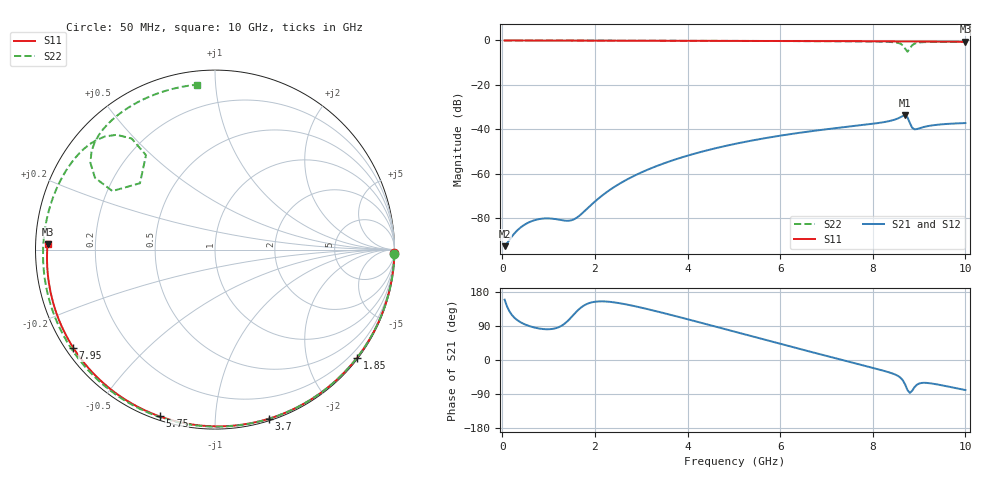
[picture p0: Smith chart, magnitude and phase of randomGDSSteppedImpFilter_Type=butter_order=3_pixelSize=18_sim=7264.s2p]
! freq	dB(S11)	phase(S11)	dB(S12)	phase(S12)
!  dB(S21)	phase(S21)	dB(S22)	phase(S22)
!S-par simulation data
#  GHz  S  DB  R 50
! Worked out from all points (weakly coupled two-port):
!   200 points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, 50 MHz to 10 GHz, reference 50 ohm
!   highest |S21| = -33.71 dB at 8.7 GHz (marker M1); lowest = -92.6 dB at 50 MHz (marker M2)
!   lowest |S11| = -0.6 dB at 10 GHz (marker M3), VSWR 29.04, Z = 1.72 + j0.777 ohm
!   |S11| at or under -10 dB: nowhere
!   |S22| runs from -5.1 to 0.0 dB; largest |S21 - S12| = 0
!   S11 on the Smith chart (normalised r, x): 50 MHz: open; 1.85 GHz: 0.03, -2.96; 3.7 GHz: 0.02, -1.37; 5.75 GHz: 0.02, -0.72; 7.95 GHz: 0.02, -0.31; 10 GHz: 0.03, +0.02
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0.05  -0.00 -1.0  -92.56 159.2  -92.56 159.2  -0.00 -1.4
0.75  -0.02 -15.3  -80.58 84.1  -80.58 84.1  -0.02 -20.2
1.55  -0.04 -31.4  -80.45 120.9  -80.45 120.9  -0.05 -41.4
1.75  -0.04 -35.3  -77.30 142.8  -77.30 142.8  -0.06 -46.5
1.85  -0.05 -37.3  -75.34 149.0  -75.34 149.0  -0.06 -49.1
2.5  -0.06 -49.9  -64.85 150.6  -64.85 150.6  -0.08 -65.6
3.4  -0.09 -66.9  -55.98 126.4  -55.98 126.4  -0.11 -87.8
3.7  -0.10 -72.4  -53.79 117.2  -53.79 117.2  -0.13 -95.0
5.05  -0.15 -96.4  -46.43 73.6  -46.43 73.6  -0.19 -126.8
5.75  -0.18 -108.3  -43.70 50.9  -43.70 50.9  -0.24 -143.3
6.7  -0.24 -124.3  -40.75 20.3  -40.75 20.3  -0.32 -166.6
7.35  -0.30 -135.2  -39.08 -0.3  -39.08 -0.3  -0.39 176.4
7.95  -0.35 -145.3  -37.62 -19.2  -37.62 -19.2  -0.49 158.8
8.35  -0.39 -152.1  -36.31 -32.5  -36.31 -32.5  -0.66 144.6
8.6  -0.42 -156.4  -34.52 -46.9  -34.52 -46.9  -1.49 130.6
8.7  -0.43 -158.2  -33.71 -64.9  -33.71 -64.9  -3.72 126.2
8.75  -0.43 -159.0  -34.61 -79.4  -34.61 -79.4  -5.07 138.5
8.8  -0.44 -159.9  -37.08 -86.9  -37.08 -86.9  -3.63 150.3
8.85  -0.45 -160.8  -39.25 -81.2  -39.25 -81.2  -2.17 149.1
8.95  -0.46 -162.5  -39.88 -65.5  -39.88 -65.5  -1.11 141.4
9.35  -0.51 -169.7  -38.03 -63.5  -38.03 -63.5  -0.66 121.8
10  -0.60 178.2  -37.17 -79.3  -37.17 -79.3  -0.68 96.3
